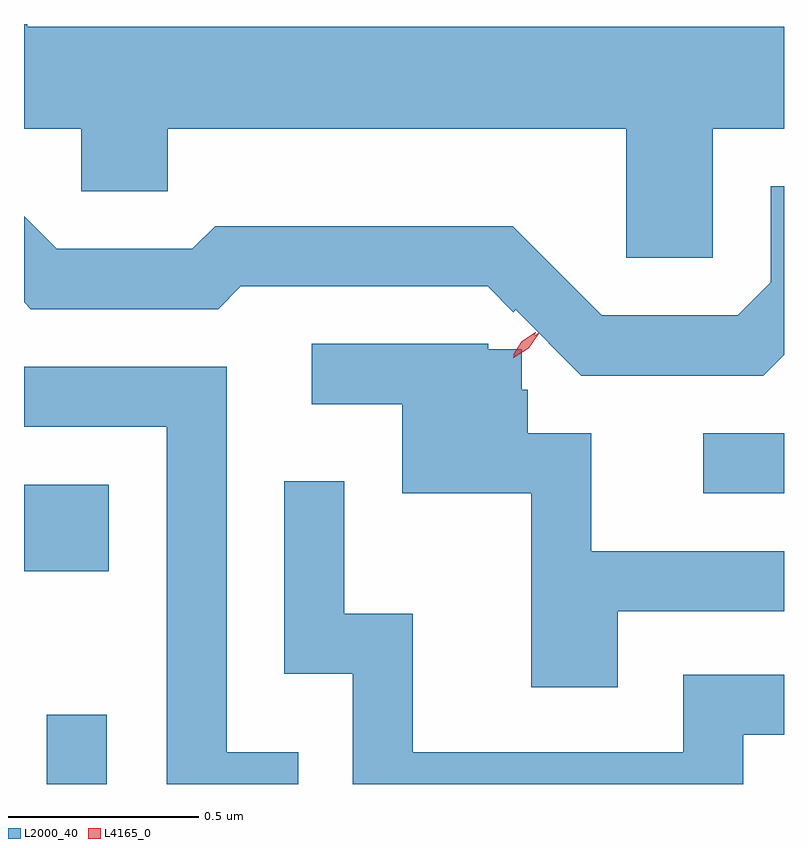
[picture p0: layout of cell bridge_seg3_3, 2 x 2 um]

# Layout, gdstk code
import gdstk
lib = gdstk.Library(unit=1e-6, precision=1e-09)
def R(c, l, rs):  # rectangles x0, y0, x1, y1
    for r in rs: c.add(gdstk.rectangle(r[:2], r[2:], *l))
def P(c, l, *ps):  # polygons
    for p in ps: c.add(gdstk.Polygon(p, *l))
L2000_40 = (2000, 40)
L4165_0 = (4165, 0)

bridge_seg3_3 = lib.new_cell('bridge_seg3_3')
R(bridge_seg3_3, L2000_40, [(1873.736,1250.831,1873.894,1251.013), (1873.676,1251.391,1873.899,1251.619), (1875.463,1251.596,1875.676,1251.754)])
P(bridge_seg3_3, L2000_40, [(1875.489,1252.556),(1875.676,1252.556),(1875.676,1252.824),(1873.684,1252.824),(1873.684,1252.831),(1873.676,1252.831),(1873.676,1252.556),(1873.826,1252.556),(1873.826,1252.391),(1874.054,1252.391),(1874.054,1252.556),(1875.261,1252.556),(1875.261,1252.216),(1875.489,1252.216)],
  [(1875.676,1251.96),(1875.676,1252.404),(1875.641,1252.404),(1875.641,1252.152),(1875.554,1252.064),(1875.197,1252.064),(1874.962,1252.299),(1874.179,1252.299),(1874.119,1252.239),(1873.762,1252.239),(1873.676,1252.325),(1873.676,1252.099),(1873.694,1252.081),(1874.187,1252.081),(1874.247,1252.141),(1874.896,1252.141),(1874.964,1252.073),(1874.97,1252.079),(1875.143,1251.906),(1875.622,1251.906)],
  [(1875.239,1251.286),(1875.676,1251.286),(1875.676,1251.444),(1875.169,1251.444),(1875.169,1251.754),(1875.001,1251.754),(1875.001,1251.868),(1874.986,1251.868),(1874.986,1251.975),(1874.898,1251.975),(1874.898,1251.989),(1874.433,1251.989),(1874.433,1251.831),(1874.671,1251.831),(1874.671,1251.596),(1875.011,1251.596),(1875.011,1251.086),(1875.239,1251.086)],
  [(1874.398,1250.914),(1874.209,1250.914),(1874.209,1251.929),(1873.676,1251.929),(1873.676,1251.771),(1874.051,1251.771),(1874.051,1250.831),(1874.398,1250.831)],
  [(1875.569,1250.961),(1875.676,1250.961),(1875.676,1251.119),(1875.411,1251.119),(1875.411,1250.914),(1874.699,1250.914),(1874.699,1251.279),(1874.519,1251.279),(1874.519,1251.628),(1874.361,1251.628),(1874.361,1251.121),(1874.541,1251.121),(1874.541,1250.831),(1875.569,1250.831)])
P(bridge_seg3_3, L4165_0, [(1874.964,1251.953),(1874.964,1251.954),(1874.99,1251.992),(1875.029,1252.017),(1875.03,1252.017),(1875.03,1252.016),(1875.004,1251.978),(1874.965,1251.953)],
  [(1874.964,1251.959),(1874.964,1251.96),(1874.986,1251.996),(1875.022,1252.02),(1875.023,1252.02),(1875.023,1252.019),(1875,1251.982),(1874.964,1251.959)])

lib.write_gds('bridge_seg3_3.gds')
